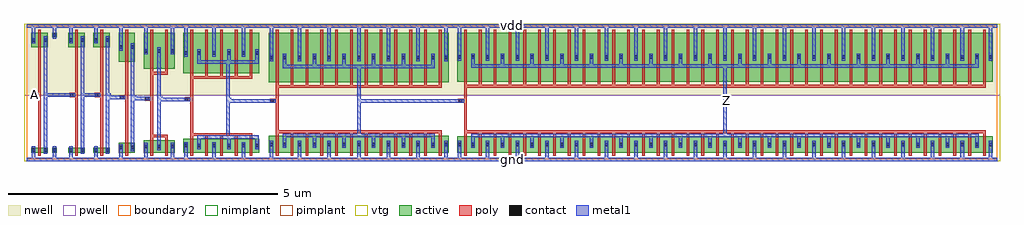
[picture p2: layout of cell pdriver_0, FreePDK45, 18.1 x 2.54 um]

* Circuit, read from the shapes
.subckt pdriver_0 A Z gnd vdd
M1 pinv_9_1/A A gnd gnd nfet w=0.09u l=0.05u
M2 pinv_9_2/A pinv_9_1/A gnd gnd nfet w=0.09u l=0.05u
M3 pinv_10_3/A pinv_9_2/A gnd gnd nfet w=0.09u l=0.05u
M4 pinv_11_4/A pinv_10_3/A gnd gnd nfet w=0.18u l=0.05u
M5 pinv_12_5/A pinv_11_4/A gnd gnd nfet w=0.225u l=0.05u m=2
M6 pinv_13_6/A pinv_12_5/A gnd gnd nfet w=0.2525u l=0.05u m=5
M7 pinv_14_7/A pinv_13_6/A gnd gnd nfet w=0.3075u l=0.05u m=12
M8 Z pinv_14_7/A gnd gnd nfet w=0.305u l=0.05u m=36
M9 pinv_9_1/A A vdd vdd pfet w=0.27u l=0.05u
M10 pinv_9_2/A pinv_9_1/A vdd vdd pfet w=0.27u l=0.05u
M11 pinv_10_3/A pinv_9_2/A vdd vdd pfet w=0.27u l=0.05u
M12 pinv_11_4/A pinv_10_3/A vdd vdd pfet w=0.54u l=0.05u
M13 pinv_12_5/A pinv_11_4/A vdd vdd pfet w=0.675u l=0.05u m=2
M14 pinv_13_6/A pinv_12_5/A vdd vdd pfet w=0.755u l=0.05u m=5
M15 pinv_14_7/A pinv_13_6/A vdd vdd pfet w=0.9225u l=0.05u m=12
M16 Z pinv_14_7/A vdd vdd pfet w=0.915u l=0.05u m=36
.ends

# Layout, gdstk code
import gdstk
lib = gdstk.Library(unit=1e-6, precision=5e-10)
def R(c, l, rs):  # rectangles x0, y0, x1, y1
    for r in rs: c.add(gdstk.rectangle(r[:2], r[2:], *l))
def A(c, l, x, y, w, h, nx, ny, dx, dy):  # array of equal rectangles
    R(c, l, [(x+i*dx, y+j*dy, x+i*dx+w, y+j*dy+h) for i in range(nx) for j in range(ny)])
active = (1, 0)
pwell = (2, 0)
nwell = (3, 0)
nimplant = (4, 0)
pimplant = (5, 0)
vtg = (6, 0)
poly = (9, 0)
contact = (10, 0)
metal1 = (11, 0)
boundary2 = (239, 0)

contact_10 = lib.new_cell('contact_10')
R(contact_10, active, [(0,0.0225,0.09,0.1125)])
R(contact_10, nwell, [(-0.055,-0.0325,0.145,0.1675)])
R(contact_10, pimplant, [(0,0.0225,0.09,0.1125)])
R(contact_10, contact, [(0.0125,0.035,0.0775,0.1)])
R(contact_10, metal1, [(0.0125,0,0.0775,0.135)])
R(contact_10, boundary2, [(-0.055,-0.0325,0.145,0.1675)])

pmos_m1_w0_270_sm1_dm1_d = lib.new_cell('pmos_m1_w0_270_sm1_dm1_da_p')
R(pmos_m1_w0_270_sm1_dm1_d, active, [(0,0,0.305,0.27)])
R(pmos_m1_w0_270_sm1_dm1_d, nwell, [(-0.08,-0.08,0.385,0.35)])
R(pmos_m1_w0_270_sm1_dm1_d, pimplant, [(0,0,0.305,0.27)])
R(pmos_m1_w0_270_sm1_dm1_d, vtg, [(-0.08,-0.08,0.385,0.35)])
R(pmos_m1_w0_270_sm1_dm1_d, poly, [(0.1275,-0.055,0.1775,0.325), (0.1275,-0.055,0.1775,0.325)])
R(pmos_m1_w0_270_sm1_dm1_d, metal1, [(0.0125,0.0675,0.0775,0.2025), (0.2275,0.0675,0.2925,0.2025)])
R(pmos_m1_w0_270_sm1_dm1_d, boundary2, [(-0.08,-0.08,0.385,0.35)])
pmos_m1_w0_270_sm1_dm1_d.add(gdstk.Reference(contact_10, (0,0.0675)))
pmos_m1_w0_270_sm1_dm1_d.add(gdstk.Reference(contact_10, (0.215,0.0675)))
pmos_m1_w0_270_sm1_dm1_d.add(gdstk.Label('G', (0.1525,0.135), layer=9, texttype=0))
pmos_m1_w0_270_sm1_dm1_d.add(gdstk.Label('S', (0.045,0.135), layer=11, texttype=0))
pmos_m1_w0_270_sm1_dm1_d.add(gdstk.Label('D', (0.26,0.135), layer=11, texttype=0))

contact_9 = lib.new_cell('contact_9')
R(contact_9, active, [(0,0.0225,0.09,0.1125)])
R(contact_9, pwell, [(-0.055,-0.0325,0.145,0.1675)])
R(contact_9, nimplant, [(0,0.0225,0.09,0.1125)])
R(contact_9, contact, [(0.0125,0.035,0.0775,0.1)])
R(contact_9, metal1, [(0.0125,0,0.0775,0.135)])
R(contact_9, boundary2, [(-0.055,-0.0325,0.145,0.1675)])

nmos_m1_w0_090_sm1_dm1_d = lib.new_cell('nmos_m1_w0_090_sm1_dm1_da_p')
R(nmos_m1_w0_090_sm1_dm1_d, active, [(0,0,0.305,0.09)])
R(nmos_m1_w0_090_sm1_dm1_d, pwell, [(-0.08,-0.08,0.385,0.17)])
R(nmos_m1_w0_090_sm1_dm1_d, nimplant, [(0,0,0.305,0.09)])
R(nmos_m1_w0_090_sm1_dm1_d, vtg, [(-0.08,-0.08,0.385,0.17)])
R(nmos_m1_w0_090_sm1_dm1_d, poly, [(0.1275,-0.055,0.1775,0.145), (0.1275,-0.055,0.1775,0.145)])
R(nmos_m1_w0_090_sm1_dm1_d, metal1, [(0.0125,-0.0225,0.0775,0.1125), (0.2275,-0.0225,0.2925,0.1125)])
R(nmos_m1_w0_090_sm1_dm1_d, boundary2, [(-0.08,-0.08,0.385,0.17)])
nmos_m1_w0_090_sm1_dm1_d.add(gdstk.Reference(contact_9, (0,-0.0225)))
nmos_m1_w0_090_sm1_dm1_d.add(gdstk.Reference(contact_9, (0.215,-0.0225)))
nmos_m1_w0_090_sm1_dm1_d.add(gdstk.Label('G', (0.1525,0.045), layer=9, texttype=0))
nmos_m1_w0_090_sm1_dm1_d.add(gdstk.Label('S', (0.045,0.045), layer=11, texttype=0))
nmos_m1_w0_090_sm1_dm1_d.add(gdstk.Label('D', (0.26,0.045), layer=11, texttype=0))

contact_11 = lib.new_cell('contact_11')
R(contact_11, active, [(0,0.0225,0.09,0.1125)])
R(contact_11, nwell, [(-0.055,-0.0325,0.145,0.1675)])
R(contact_11, nimplant, [(0,0.0225,0.09,0.1125)])
R(contact_11, contact, [(0.0125,0.035,0.0775,0.1)])
R(contact_11, metal1, [(0.0125,0,0.0775,0.135)])
R(contact_11, boundary2, [(-0.055,-0.0325,0.145,0.1675)])

contact_12 = lib.new_cell('contact_12')
R(contact_12, active, [(0,0.0225,0.09,0.1125)])
R(contact_12, pwell, [(-0.055,-0.0325,0.145,0.1675)])
R(contact_12, pimplant, [(0,0.0225,0.09,0.1125)])
R(contact_12, contact, [(0.0125,0.035,0.0775,0.1)])
R(contact_12, metal1, [(0.0125,0,0.0775,0.135)])
R(contact_12, boundary2, [(-0.055,-0.0325,0.145,0.1675)])

contact_13 = lib.new_cell('contact_13')
R(contact_13, poly, [(0.03,0,0.105,0.075)])
R(contact_13, contact, [(0.035,0.005,0.1,0.07)])
R(contact_13, metal1, [(0,0.005,0.135,0.07)])
R(contact_13, boundary2, [(0,0,0.135,0.075)])

pinv_8 = lib.new_cell('pinv_8')
R(pinv_8, pwell, [(-0.055,-0.0325,0.7425,1.1875)])
R(pinv_8, nwell, [(-0.055,1.1875,0.7425,2.51)])
R(pinv_8, vtg, [(-0.055,-0.0325,0.7425,1.1875), (-0.055,1.1875,0.7425,2.51)])
R(pinv_8, poly, [(0.2075,0.27,0.2575,2.025), (0.14,1.155,0.2075,1.23)])
R(pinv_8, metal1, [(0,-0.0325,0.6875,0.0325), (0.0925,-0.0325,0.1575,0.1025), (0.4775,0,0.5425,0.17), (0.3075,0.1025,0.3725,2.2825), (0.0725,1.16,0.2075,1.225), (0.34,1.16,0.405,1.225), (0.0925,2.1475,0.1575,2.5075), (0.4775,2.305,0.5425,2.475), (0,2.4425,0.6875,2.5075)])
R(pinv_8, boundary2, [(0,0,0.6875,2.475), (0,0,0.6875,2.475)])
pinv_8.add(gdstk.Reference(pmos_m1_w0_270_sm1_dm1_d, (0.08,2.08)))
pinv_8.add(gdstk.Reference(nmos_m1_w0_090_sm1_dm1_d, (0.08,0.125)))
pinv_8.add(gdstk.Reference(contact_11, (0.465,2.2375)))
pinv_8.add(gdstk.Reference(contact_12, (0.465,0.1025)))
pinv_8.add(gdstk.Reference(contact_13, (0.0725,1.155)))
pinv_8.add(gdstk.Label('A', (0.14,1.1925), layer=11, texttype=0))
pinv_8.add(gdstk.Label('Z', (0.3725,1.1925), layer=11, texttype=0))
pinv_8.add(gdstk.Label('gnd', (0.344,0), layer=11, texttype=0))
pinv_8.add(gdstk.Label('vdd', (0.344,2.475), layer=11, texttype=0))

pinv_9 = lib.new_cell('pinv_9')
R(pinv_9, pwell, [(-0.055,-0.0325,0.52,1.1875)])
R(pinv_9, nwell, [(-0.055,1.1875,0.52,2.51)])
R(pinv_9, vtg, [(-0.055,-0.0325,0.52,1.1875), (-0.055,1.1875,0.52,2.51)])
R(pinv_9, poly, [(0.2075,0.27,0.2575,2.025), (0.14,1.155,0.2075,1.23)])
R(pinv_9, metal1, [(0,-0.0325,0.465,0.0325), (0.0925,-0.0325,0.1575,0.1025), (0.3075,0.1025,0.3725,2.2825), (0.0725,1.16,0.2075,1.225), (0.34,1.16,0.405,1.225), (0.0925,2.1475,0.1575,2.5075), (0,2.4425,0.465,2.5075)])
R(pinv_9, boundary2, [(0,0,0.465,2.475), (0,0,0.465,2.475)])
pinv_9.add(gdstk.Reference(pmos_m1_w0_270_sm1_dm1_d, (0.08,2.08)))
pinv_9.add(gdstk.Reference(nmos_m1_w0_090_sm1_dm1_d, (0.08,0.125)))
pinv_9.add(gdstk.Reference(contact_13, (0.0725,1.155)))
pinv_9.add(gdstk.Label('A', (0.14,1.1925), layer=11, texttype=0))
pinv_9.add(gdstk.Label('Z', (0.3725,1.1925), layer=11, texttype=0))
pinv_9.add(gdstk.Label('gnd', (0.2325,0), layer=11, texttype=0))
pinv_9.add(gdstk.Label('vdd', (0.2325,2.475), layer=11, texttype=0))

pmos_m1_w0_540_sm1_dm1_d = lib.new_cell('pmos_m1_w0_540_sm1_dm1_da_p')
R(pmos_m1_w0_540_sm1_dm1_d, active, [(0,0,0.305,0.54)])
R(pmos_m1_w0_540_sm1_dm1_d, nwell, [(-0.08,-0.08,0.385,0.62)])
R(pmos_m1_w0_540_sm1_dm1_d, pimplant, [(0,0,0.305,0.54)])
R(pmos_m1_w0_540_sm1_dm1_d, vtg, [(-0.08,-0.08,0.385,0.62)])
R(pmos_m1_w0_540_sm1_dm1_d, poly, [(0.1275,-0.055,0.1775,0.595), (0.1275,-0.055,0.1775,0.595)])
R(pmos_m1_w0_540_sm1_dm1_d, metal1, [(0.0125,0.2025,0.0775,0.3375), (0.2275,0.2025,0.2925,0.3375)])
R(pmos_m1_w0_540_sm1_dm1_d, boundary2, [(-0.08,-0.08,0.385,0.62)])
pmos_m1_w0_540_sm1_dm1_d.add(gdstk.Reference(contact_10, (0,0.2025)))
pmos_m1_w0_540_sm1_dm1_d.add(gdstk.Reference(contact_10, (0.215,0.2025)))
pmos_m1_w0_540_sm1_dm1_d.add(gdstk.Label('G', (0.1525,0.27), layer=9, texttype=0))
pmos_m1_w0_540_sm1_dm1_d.add(gdstk.Label('S', (0.045,0.27), layer=11, texttype=0))
pmos_m1_w0_540_sm1_dm1_d.add(gdstk.Label('D', (0.26,0.27), layer=11, texttype=0))

nmos_m1_w0_180_sm1_dm1_d = lib.new_cell('nmos_m1_w0_180_sm1_dm1_da_p')
R(nmos_m1_w0_180_sm1_dm1_d, active, [(0,0,0.305,0.18)])
R(nmos_m1_w0_180_sm1_dm1_d, pwell, [(-0.08,-0.08,0.385,0.26)])
R(nmos_m1_w0_180_sm1_dm1_d, nimplant, [(0,0,0.305,0.18)])
R(nmos_m1_w0_180_sm1_dm1_d, vtg, [(-0.08,-0.08,0.385,0.26)])
R(nmos_m1_w0_180_sm1_dm1_d, poly, [(0.1275,-0.055,0.1775,0.235), (0.1275,-0.055,0.1775,0.235)])
R(nmos_m1_w0_180_sm1_dm1_d, metal1, [(0.0125,0.0225,0.0775,0.1575), (0.2275,0.0225,0.2925,0.1575)])
R(nmos_m1_w0_180_sm1_dm1_d, boundary2, [(-0.08,-0.08,0.385,0.26)])
nmos_m1_w0_180_sm1_dm1_d.add(gdstk.Reference(contact_9, (0,0.0225)))
nmos_m1_w0_180_sm1_dm1_d.add(gdstk.Reference(contact_9, (0.215,0.0225)))
nmos_m1_w0_180_sm1_dm1_d.add(gdstk.Label('G', (0.1525,0.09), layer=9, texttype=0))
nmos_m1_w0_180_sm1_dm1_d.add(gdstk.Label('S', (0.045,0.09), layer=11, texttype=0))
nmos_m1_w0_180_sm1_dm1_d.add(gdstk.Label('D', (0.26,0.09), layer=11, texttype=0))

pinv_10 = lib.new_cell('pinv_10')
R(pinv_10, pwell, [(-0.055,-0.0325,0.52,1.1875)])
R(pinv_10, nwell, [(-0.055,1.1875,0.52,2.51)])
R(pinv_10, vtg, [(-0.055,-0.0325,0.52,1.1875), (-0.055,1.1875,0.52,2.51)])
R(pinv_10, poly, [(0.2075,0.36,0.2575,1.755), (0.14,1.11,0.2075,1.185)])
R(pinv_10, metal1, [(0,-0.0325,0.465,0.0325), (0.0925,-0.0325,0.1575,0.1475), (0.3075,0.1475,0.3725,2.1475), (0.0725,1.115,0.2075,1.18), (0.34,1.115,0.405,1.18), (0.0925,2.0125,0.1575,2.5075), (0,2.4425,0.465,2.5075)])
R(pinv_10, boundary2, [(0,0,0.465,2.475), (0,0,0.465,2.475)])
pinv_10.add(gdstk.Reference(pmos_m1_w0_540_sm1_dm1_d, (0.08,1.81)))
pinv_10.add(gdstk.Reference(nmos_m1_w0_180_sm1_dm1_d, (0.08,0.125)))
pinv_10.add(gdstk.Reference(contact_13, (0.0725,1.11)))
pinv_10.add(gdstk.Label('A', (0.14,1.1475), layer=11, texttype=0))
pinv_10.add(gdstk.Label('Z', (0.3725,1.1475), layer=11, texttype=0))
pinv_10.add(gdstk.Label('gnd', (0.2325,0), layer=11, texttype=0))
pinv_10.add(gdstk.Label('vdd', (0.2325,2.475), layer=11, texttype=0))

pmos_m2_w0_675_sm1_dm1_d = lib.new_cell('pmos_m2_w0_675_sm1_dm1_da_p')
R(pmos_m2_w0_675_sm1_dm1_d, active, [(0,0,0.58,0.675)])
R(pmos_m2_w0_675_sm1_dm1_d, nwell, [(-0.08,-0.08,0.66,0.755)])
R(pmos_m2_w0_675_sm1_dm1_d, pimplant, [(0,0,0.58,0.675)])
R(pmos_m2_w0_675_sm1_dm1_d, vtg, [(-0.08,-0.08,0.66,0.755)])
R(pmos_m2_w0_675_sm1_dm1_d, poly, [(0.1275,-0.105,0.4525,-0.055), (0.1275,-0.055,0.1775,0.73), (0.4025,-0.055,0.4525,0.73)])
A(pmos_m2_w0_675_sm1_dm1_d, metal1, 0.0125, 0.27, 0.065, 0.135, 3, 1, 0.245, 0)
R(pmos_m2_w0_675_sm1_dm1_d, boundary2, [(-0.08,-0.08,0.66,0.755)])
pmos_m2_w0_675_sm1_dm1_d.add(gdstk.Reference(contact_10, (0,0.27)))
pmos_m2_w0_675_sm1_dm1_d.add(gdstk.Reference(contact_10, (0.245,0.27)))
pmos_m2_w0_675_sm1_dm1_d.add(gdstk.Reference(contact_10, (0.49,0.27)))
pmos_m2_w0_675_sm1_dm1_d.add(gdstk.Label('G', (0.29,-0.08), layer=9, texttype=0))
pmos_m2_w0_675_sm1_dm1_d.add(gdstk.Label('S', (0.045,0.3375), layer=11, texttype=0))
pmos_m2_w0_675_sm1_dm1_d.add(gdstk.Label('S', (0.535,0.3375), layer=11, texttype=0))
pmos_m2_w0_675_sm1_dm1_d.add(gdstk.Label('D', (0.29,0.3375), layer=11, texttype=0))

nmos_m2_w0_225_sm1_dm1_d = lib.new_cell('nmos_m2_w0_225_sm1_dm1_da_p')
R(nmos_m2_w0_225_sm1_dm1_d, active, [(0,0,0.58,0.225)])
R(nmos_m2_w0_225_sm1_dm1_d, pwell, [(-0.08,-0.08,0.66,0.305)])
R(nmos_m2_w0_225_sm1_dm1_d, nimplant, [(0,0,0.58,0.225)])
R(nmos_m2_w0_225_sm1_dm1_d, vtg, [(-0.08,-0.08,0.66,0.305)])
R(nmos_m2_w0_225_sm1_dm1_d, poly, [(0.1275,-0.055,0.1775,0.28), (0.4025,-0.055,0.4525,0.28), (0.1275,0.28,0.4525,0.33)])
A(nmos_m2_w0_225_sm1_dm1_d, metal1, 0.0125, 0.045, 0.065, 0.135, 3, 1, 0.245, 0)
R(nmos_m2_w0_225_sm1_dm1_d, boundary2, [(-0.08,-0.08,0.66,0.305)])
nmos_m2_w0_225_sm1_dm1_d.add(gdstk.Reference(contact_9, (0,0.045)))
nmos_m2_w0_225_sm1_dm1_d.add(gdstk.Reference(contact_9, (0.245,0.045)))
nmos_m2_w0_225_sm1_dm1_d.add(gdstk.Reference(contact_9, (0.49,0.045)))
nmos_m2_w0_225_sm1_dm1_d.add(gdstk.Label('G', (0.29,0.305), layer=9, texttype=0))
nmos_m2_w0_225_sm1_dm1_d.add(gdstk.Label('S', (0.535,0.1125), layer=11, texttype=0))
nmos_m2_w0_225_sm1_dm1_d.add(gdstk.Label('S', (0.045,0.1125), layer=11, texttype=0))
nmos_m2_w0_225_sm1_dm1_d.add(gdstk.Label('D', (0.29,0.1125), layer=11, texttype=0))

pinv_11 = lib.new_cell('pinv_11')
R(pinv_11, pwell, [(-0.055,-0.0325,0.795,1.1875)])
R(pinv_11, nwell, [(-0.055,1.1875,0.795,2.51)])
R(pinv_11, vtg, [(-0.055,-0.0325,0.795,1.1875), (-0.055,1.1875,0.795,2.51)])
R(pinv_11, poly, [(0.2075,0.455,0.2575,1.57), (0.14,1.0875,0.2075,1.1625)])
R(pinv_11, metal1, [(0,-0.0325,0.74,0.0325), (0.0925,-0.0325,0.1575,0.17), (0.5825,-0.0325,0.6475,0.17), (0.3375,0.17,0.4025,2.08), (0.0725,1.0925,0.2075,1.1575), (0.37,1.0925,0.435,1.1575), (0.0925,1.945,0.1575,2.5075), (0.5825,1.945,0.6475,2.5075), (0,2.4425,0.74,2.5075)])
R(pinv_11, boundary2, [(0,0,0.74,2.475), (0,0,0.74,2.475)])
pinv_11.add(gdstk.Reference(pmos_m2_w0_675_sm1_dm1_d, (0.08,1.675)))
pinv_11.add(gdstk.Reference(nmos_m2_w0_225_sm1_dm1_d, (0.08,0.125)))
pinv_11.add(gdstk.Reference(contact_13, (0.0725,1.0875)))
pinv_11.add(gdstk.Label('A', (0.14,1.125), layer=11, texttype=0))
pinv_11.add(gdstk.Label('Z', (0.4025,1.125), layer=11, texttype=0))
pinv_11.add(gdstk.Label('gnd', (0.37,0), layer=11, texttype=0))
pinv_11.add(gdstk.Label('vdd', (0.37,2.475), layer=11, texttype=0))

pmos_m5_w0_755_sm1_dm1_d = lib.new_cell('pmos_m5_w0_755_sm1_dm1_da_p')
R(pmos_m5_w0_755_sm1_dm1_d, active, [(0,0,1.405,0.755)])
R(pmos_m5_w0_755_sm1_dm1_d, nwell, [(-0.08,-0.08,1.485,0.835)])
R(pmos_m5_w0_755_sm1_dm1_d, pimplant, [(0,0,1.405,0.755)])
R(pmos_m5_w0_755_sm1_dm1_d, vtg, [(-0.08,-0.08,1.485,0.835)])
A(pmos_m5_w0_755_sm1_dm1_d, poly, 0.1275, -0.055, 0.05, 0.865, 5, 1, 0.275, 0)
R(pmos_m5_w0_755_sm1_dm1_d, poly, [(0.1275,-0.105,1.2775,-0.055)])
R(pmos_m5_w0_755_sm1_dm1_d, metal1, [(0.2575,0.18,1.3925,0.245), (0.2575,0.2125,0.3225,0.3775), (0.8075,0.2125,0.8725,0.3775), (1.3275,0.2125,1.3925,0.3775), (0.0125,0.31,0.0775,0.445), (0.5325,0.31,0.5975,0.445), (1.0825,0.31,1.1475,0.445)])
R(pmos_m5_w0_755_sm1_dm1_d, boundary2, [(-0.08,-0.08,1.485,0.835)])
pmos_m5_w0_755_sm1_dm1_d.add(gdstk.Reference(contact_10, (0,0.31)))
pmos_m5_w0_755_sm1_dm1_d.add(gdstk.Reference(contact_10, (0.245,0.31)))
pmos_m5_w0_755_sm1_dm1_d.add(gdstk.Reference(contact_10, (0.52,0.31)))
pmos_m5_w0_755_sm1_dm1_d.add(gdstk.Reference(contact_10, (0.795,0.31)))
pmos_m5_w0_755_sm1_dm1_d.add(gdstk.Reference(contact_10, (1.07,0.31)))
pmos_m5_w0_755_sm1_dm1_d.add(gdstk.Reference(contact_10, (1.315,0.31)))
pmos_m5_w0_755_sm1_dm1_d.add(gdstk.Label('G', (0.7025,-0.08), layer=9, texttype=0))
pmos_m5_w0_755_sm1_dm1_d.add(gdstk.Label('S', (1.115,0.3775), layer=11, texttype=0))
pmos_m5_w0_755_sm1_dm1_d.add(gdstk.Label('S', (0.565,0.3775), layer=11, texttype=0))
pmos_m5_w0_755_sm1_dm1_d.add(gdstk.Label('S', (0.045,0.3775), layer=11, texttype=0))
pmos_m5_w0_755_sm1_dm1_d.add(gdstk.Label('D', (0.825,0.2125), layer=11, texttype=0))

nmos_m5_w0_253_sm1_dm1_d = lib.new_cell('nmos_m5_w0_253_sm1_dm1_da_p')
R(nmos_m5_w0_253_sm1_dm1_d, active, [(0,0,1.405,0.2525)])
R(nmos_m5_w0_253_sm1_dm1_d, pwell, [(-0.08,-0.08,1.485,0.3325)])
R(nmos_m5_w0_253_sm1_dm1_d, nimplant, [(0,0,1.405,0.2525)])
R(nmos_m5_w0_253_sm1_dm1_d, vtg, [(-0.08,-0.08,1.485,0.3325)])
A(nmos_m5_w0_253_sm1_dm1_d, poly, 0.1275, -0.055, 0.05, 0.3625, 5, 1, 0.275, 0)
R(nmos_m5_w0_253_sm1_dm1_d, poly, [(0.1275,0.3075,1.2775,0.3575)])
R(nmos_m5_w0_253_sm1_dm1_d, metal1, [(0.0125,0.06,0.0775,0.195), (0.5325,0.06,0.5975,0.195), (1.0825,0.06,1.1475,0.195), (0.2575,0.125,0.3225,0.29), (0.8075,0.125,0.8725,0.29), (1.3275,0.125,1.3925,0.29), (0.2575,0.26,1.3925,0.325)])
R(nmos_m5_w0_253_sm1_dm1_d, boundary2, [(-0.08,-0.08,1.485,0.3325)])
nmos_m5_w0_253_sm1_dm1_d.add(gdstk.Reference(contact_9, (0,0.06)))
nmos_m5_w0_253_sm1_dm1_d.add(gdstk.Reference(contact_9, (0.245,0.06)))
nmos_m5_w0_253_sm1_dm1_d.add(gdstk.Reference(contact_9, (0.52,0.06)))
nmos_m5_w0_253_sm1_dm1_d.add(gdstk.Reference(contact_9, (0.795,0.06)))
nmos_m5_w0_253_sm1_dm1_d.add(gdstk.Reference(contact_9, (1.07,0.06)))
nmos_m5_w0_253_sm1_dm1_d.add(gdstk.Reference(contact_9, (1.315,0.06)))
nmos_m5_w0_253_sm1_dm1_d.add(gdstk.Label('G', (0.7025,0.3325), layer=9, texttype=0))
nmos_m5_w0_253_sm1_dm1_d.add(gdstk.Label('S', (0.045,0.1275), layer=11, texttype=0))
nmos_m5_w0_253_sm1_dm1_d.add(gdstk.Label('S', (0.565,0.1275), layer=11, texttype=0))
nmos_m5_w0_253_sm1_dm1_d.add(gdstk.Label('S', (1.115,0.1275), layer=11, texttype=0))
nmos_m5_w0_253_sm1_dm1_d.add(gdstk.Label('D', (0.825,0.2925), layer=11, texttype=0))

pinv_12 = lib.new_cell('pinv_12')
R(pinv_12, pwell, [(-0.055,-0.0325,1.64,1.1875)])
R(pinv_12, nwell, [(-0.055,1.1875,1.64,2.51)])
R(pinv_12, vtg, [(-0.055,-0.0325,1.64,1.1875), (-0.055,1.1875,1.64,2.51)])
R(pinv_12, poly, [(0.2075,0.4825,0.2575,1.49), (0.14,1.075,0.2075,1.15)])
R(pinv_12, metal1, [(0,-0.0325,1.585,0.0325), (0.0925,-0.0325,0.1575,0.185), (0.6125,-0.0325,0.6775,0.185), (1.1625,-0.0325,1.2275,0.185), (0.8725,0.385,0.9375,1.84), (0.0725,1.08,0.2075,1.145), (0.905,1.08,0.97,1.145), (0.0925,1.905,0.1575,2.5075), (0.6125,1.905,0.6775,2.5075), (1.1625,1.905,1.2275,2.5075), (0,2.4425,1.585,2.5075)])
R(pinv_12, boundary2, [(0,0,1.585,2.475), (0,0,1.585,2.475)])
pinv_12.add(gdstk.Reference(pmos_m5_w0_755_sm1_dm1_d, (0.08,1.595)))
pinv_12.add(gdstk.Reference(nmos_m5_w0_253_sm1_dm1_d, (0.08,0.125)))
pinv_12.add(gdstk.Reference(contact_13, (0.0725,1.075)))
pinv_12.add(gdstk.Label('A', (0.14,1.1125), layer=11, texttype=0))
pinv_12.add(gdstk.Label('Z', (0.9375,1.1125), layer=11, texttype=0))
pinv_12.add(gdstk.Label('gnd', (0.7925,0), layer=11, texttype=0))
pinv_12.add(gdstk.Label('vdd', (0.7925,2.475), layer=11, texttype=0))

pmos_m12_w0_922_sm1_dm1_ = lib.new_cell('pmos_m12_w0_922_sm1_dm1_da_p')
R(pmos_m12_w0_922_sm1_dm1_, active, [(0,0,3.33,0.9225)])
R(pmos_m12_w0_922_sm1_dm1_, nwell, [(-0.08,-0.08,3.41,1.0025)])
R(pmos_m12_w0_922_sm1_dm1_, pimplant, [(0,0,3.33,0.9225)])
R(pmos_m12_w0_922_sm1_dm1_, vtg, [(-0.08,-0.08,3.41,1.0025)])
A(pmos_m12_w0_922_sm1_dm1_, poly, 0.1275, -0.055, 0.05, 1.0325, 12, 1, 0.275, 0)
R(pmos_m12_w0_922_sm1_dm1_, poly, [(0.1275,-0.105,3.2025,-0.055)])
A(pmos_m12_w0_922_sm1_dm1_, metal1, 0.2575, 0.295, 0.065, 0.165, 6, 1, 0.55, 0)
A(pmos_m12_w0_922_sm1_dm1_, metal1, 0.5325, 0.395, 0.065, 0.135, 5, 1, 0.55, 0)
R(pmos_m12_w0_922_sm1_dm1_, metal1, [(0.2575,0.265,3.0725,0.33), (0.0125,0.395,0.0775,0.53), (3.2525,0.395,3.3175,0.53)])
R(pmos_m12_w0_922_sm1_dm1_, boundary2, [(-0.08,-0.08,3.41,1.0025)])
pmos_m12_w0_922_sm1_dm1_.add(gdstk.Reference(contact_10, (0,0.395)))
pmos_m12_w0_922_sm1_dm1_.add(gdstk.Reference(contact_10, (0.245,0.395)))
pmos_m12_w0_922_sm1_dm1_.add(gdstk.Reference(contact_10, (0.52,0.395)))
pmos_m12_w0_922_sm1_dm1_.add(gdstk.Reference(contact_10, (0.795,0.395)))
pmos_m12_w0_922_sm1_dm1_.add(gdstk.Reference(contact_10, (1.07,0.395)))
pmos_m12_w0_922_sm1_dm1_.add(gdstk.Reference(contact_10, (1.345,0.395)))
pmos_m12_w0_922_sm1_dm1_.add(gdstk.Reference(contact_10, (1.62,0.395)))
pmos_m12_w0_922_sm1_dm1_.add(gdstk.Reference(contact_10, (1.895,0.395)))
pmos_m12_w0_922_sm1_dm1_.add(gdstk.Reference(contact_10, (2.17,0.395)))
pmos_m12_w0_922_sm1_dm1_.add(gdstk.Reference(contact_10, (2.445,0.395)))
pmos_m12_w0_922_sm1_dm1_.add(gdstk.Reference(contact_10, (2.72,0.395)))
pmos_m12_w0_922_sm1_dm1_.add(gdstk.Reference(contact_10, (2.995,0.395)))
pmos_m12_w0_922_sm1_dm1_.add(gdstk.Reference(contact_10, (3.24,0.395)))
pmos_m12_w0_922_sm1_dm1_.add(gdstk.Label('G', (1.665,-0.08), layer=9, texttype=0))
pmos_m12_w0_922_sm1_dm1_.add(gdstk.Label('S', (0.565,0.4625), layer=11, texttype=0))
pmos_m12_w0_922_sm1_dm1_.add(gdstk.Label('S', (1.665,0.4625), layer=11, texttype=0))
pmos_m12_w0_922_sm1_dm1_.add(gdstk.Label('S', (1.115,0.4625), layer=11, texttype=0))
pmos_m12_w0_922_sm1_dm1_.add(gdstk.Label('S', (0.045,0.4625), layer=11, texttype=0))
pmos_m12_w0_922_sm1_dm1_.add(gdstk.Label('S', (2.215,0.4625), layer=11, texttype=0))
pmos_m12_w0_922_sm1_dm1_.add(gdstk.Label('S', (3.285,0.4625), layer=11, texttype=0))
pmos_m12_w0_922_sm1_dm1_.add(gdstk.Label('S', (2.765,0.4625), layer=11, texttype=0))
pmos_m12_w0_922_sm1_dm1_.add(gdstk.Label('D', (1.665,0.2975), layer=11, texttype=0))

nmos_m12_w0_307_sm1_dm1_ = lib.new_cell('nmos_m12_w0_307_sm1_dm1_da_p')
R(nmos_m12_w0_307_sm1_dm1_, active, [(0,0,3.33,0.3075)])
R(nmos_m12_w0_307_sm1_dm1_, pwell, [(-0.08,-0.08,3.41,0.3875)])
R(nmos_m12_w0_307_sm1_dm1_, nimplant, [(0,0,3.33,0.3075)])
R(nmos_m12_w0_307_sm1_dm1_, vtg, [(-0.08,-0.08,3.41,0.3875)])
A(nmos_m12_w0_307_sm1_dm1_, poly, 0.1275, -0.055, 0.05, 0.4175, 12, 1, 0.275, 0)
R(nmos_m12_w0_307_sm1_dm1_, poly, [(0.1275,0.3625,3.2025,0.4125)])
A(nmos_m12_w0_307_sm1_dm1_, metal1, 0.5325, 0.085, 0.065, 0.135, 5, 1, 0.55, 0)
A(nmos_m12_w0_307_sm1_dm1_, metal1, 0.2575, 0.155, 0.065, 0.165, 6, 1, 0.55, 0)
R(nmos_m12_w0_307_sm1_dm1_, metal1, [(0.0125,0.085,0.0775,0.22), (3.2525,0.085,3.3175,0.22), (0.2575,0.285,3.0725,0.35)])
R(nmos_m12_w0_307_sm1_dm1_, boundary2, [(-0.08,-0.08,3.41,0.3875)])
nmos_m12_w0_307_sm1_dm1_.add(gdstk.Reference(contact_9, (0,0.085)))
nmos_m12_w0_307_sm1_dm1_.add(gdstk.Reference(contact_9, (0.245,0.085)))
nmos_m12_w0_307_sm1_dm1_.add(gdstk.Reference(contact_9, (0.52,0.085)))
nmos_m12_w0_307_sm1_dm1_.add(gdstk.Reference(contact_9, (0.795,0.085)))
nmos_m12_w0_307_sm1_dm1_.add(gdstk.Reference(contact_9, (1.07,0.085)))
nmos_m12_w0_307_sm1_dm1_.add(gdstk.Reference(contact_9, (1.345,0.085)))
nmos_m12_w0_307_sm1_dm1_.add(gdstk.Reference(contact_9, (1.62,0.085)))
nmos_m12_w0_307_sm1_dm1_.add(gdstk.Reference(contact_9, (1.895,0.085)))
nmos_m12_w0_307_sm1_dm1_.add(gdstk.Reference(contact_9, (2.17,0.085)))
nmos_m12_w0_307_sm1_dm1_.add(gdstk.Reference(contact_9, (2.445,0.085)))
nmos_m12_w0_307_sm1_dm1_.add(gdstk.Reference(contact_9, (2.72,0.085)))
nmos_m12_w0_307_sm1_dm1_.add(gdstk.Reference(contact_9, (2.995,0.085)))
nmos_m12_w0_307_sm1_dm1_.add(gdstk.Reference(contact_9, (3.24,0.085)))
nmos_m12_w0_307_sm1_dm1_.add(gdstk.Label('G', (1.665,0.3875), layer=9, texttype=0))
nmos_m12_w0_307_sm1_dm1_.add(gdstk.Label('S', (0.565,0.1525), layer=11, texttype=0))
nmos_m12_w0_307_sm1_dm1_.add(gdstk.Label('S', (0.045,0.1525), layer=11, texttype=0))
nmos_m12_w0_307_sm1_dm1_.add(gdstk.Label('S', (3.285,0.1525), layer=11, texttype=0))
nmos_m12_w0_307_sm1_dm1_.add(gdstk.Label('S', (2.215,0.1525), layer=11, texttype=0))
nmos_m12_w0_307_sm1_dm1_.add(gdstk.Label('S', (1.665,0.1525), layer=11, texttype=0))
nmos_m12_w0_307_sm1_dm1_.add(gdstk.Label('S', (2.765,0.1525), layer=11, texttype=0))
nmos_m12_w0_307_sm1_dm1_.add(gdstk.Label('S', (1.115,0.1525), layer=11, texttype=0))
nmos_m12_w0_307_sm1_dm1_.add(gdstk.Label('D', (1.665,0.3175), layer=11, texttype=0))

pinv_13 = lib.new_cell('pinv_13')
R(pinv_13, pwell, [(-0.055,-0.0325,3.545,1.1875)])
R(pinv_13, nwell, [(-0.055,1.1875,3.545,2.51)])
R(pinv_13, vtg, [(-0.055,-0.0325,3.545,1.1875), (-0.055,1.1875,3.545,2.51)])
R(pinv_13, poly, [(0.2075,0.5375,0.2575,1.3225), (0.14,1.045,0.2075,1.12)])
A(pinv_13, metal1, 0.6125, -0.0325, 0.065, 0.2425, 5, 1, 0.55, 0)
A(pinv_13, metal1, 0.6125, 1.8225, 0.065, 0.685, 5, 1, 0.55, 0)
R(pinv_13, metal1, [(0,-0.0325,3.49,0.0325), (0.0925,-0.0325,0.1575,0.21), (3.3325,-0.0325,3.3975,0.21), (1.7125,0.41,1.7775,1.7575), (0.0725,1.05,0.2075,1.115), (1.745,1.05,1.81,1.115), (0.0925,1.8225,0.1575,2.5075), (3.3325,1.8225,3.3975,2.5075), (0,2.4425,3.49,2.5075)])
R(pinv_13, boundary2, [(0,0,3.49,2.475), (0,0,3.49,2.475)])
pinv_13.add(gdstk.Reference(pmos_m12_w0_922_sm1_dm1_, (0.08,1.4275)))
pinv_13.add(gdstk.Reference(nmos_m12_w0_307_sm1_dm1_, (0.08,0.125)))
pinv_13.add(gdstk.Reference(contact_13, (0.0725,1.045)))
pinv_13.add(gdstk.Label('A', (0.14,1.0825), layer=11, texttype=0))
pinv_13.add(gdstk.Label('Z', (1.7775,1.0825), layer=11, texttype=0))
pinv_13.add(gdstk.Label('gnd', (1.745,0), layer=11, texttype=0))
pinv_13.add(gdstk.Label('vdd', (1.745,2.475), layer=11, texttype=0))

pmos_m36_w0_915_sm1_dm1_ = lib.new_cell('pmos_m36_w0_915_sm1_dm1_da_p')
R(pmos_m36_w0_915_sm1_dm1_, active, [(0,0,9.93,0.915)])
R(pmos_m36_w0_915_sm1_dm1_, nwell, [(-0.08,-0.08,10.01,0.995)])
R(pmos_m36_w0_915_sm1_dm1_, pimplant, [(0,0,9.93,0.915)])
R(pmos_m36_w0_915_sm1_dm1_, vtg, [(-0.08,-0.08,10.01,0.995)])
A(pmos_m36_w0_915_sm1_dm1_, poly, 0.1275, -0.055, 0.05, 1.025, 36, 1, 0.275, 0)
R(pmos_m36_w0_915_sm1_dm1_, poly, [(0.1275,-0.105,9.8025,-0.055)])
A(pmos_m36_w0_915_sm1_dm1_, metal1, 0.2575, 0.2925, 0.065, 0.165, 18, 1, 0.55, 0)
A(pmos_m36_w0_915_sm1_dm1_, metal1, 0.5325, 0.39, 0.065, 0.135, 17, 1, 0.55, 0)
R(pmos_m36_w0_915_sm1_dm1_, metal1, [(0.2575,0.26,9.6725,0.325), (0.0125,0.39,0.0775,0.525), (9.8525,0.39,9.9175,0.525)])
R(pmos_m36_w0_915_sm1_dm1_, boundary2, [(-0.08,-0.08,10.01,0.995)])
pmos_m36_w0_915_sm1_dm1_.add(gdstk.Reference(contact_10, (0,0.39)))
pmos_m36_w0_915_sm1_dm1_.add(gdstk.Reference(contact_10, (0.245,0.39)))
pmos_m36_w0_915_sm1_dm1_.add(gdstk.Reference(contact_10, (0.52,0.39)))
pmos_m36_w0_915_sm1_dm1_.add(gdstk.Reference(contact_10, (0.795,0.39)))
pmos_m36_w0_915_sm1_dm1_.add(gdstk.Reference(contact_10, (1.07,0.39)))
pmos_m36_w0_915_sm1_dm1_.add(gdstk.Reference(contact_10, (1.345,0.39)))
pmos_m36_w0_915_sm1_dm1_.add(gdstk.Reference(contact_10, (1.62,0.39)))
pmos_m36_w0_915_sm1_dm1_.add(gdstk.Reference(contact_10, (1.895,0.39)))
pmos_m36_w0_915_sm1_dm1_.add(gdstk.Reference(contact_10, (2.17,0.39)))
pmos_m36_w0_915_sm1_dm1_.add(gdstk.Reference(contact_10, (2.445,0.39)))
pmos_m36_w0_915_sm1_dm1_.add(gdstk.Reference(contact_10, (2.72,0.39)))
pmos_m36_w0_915_sm1_dm1_.add(gdstk.Reference(contact_10, (2.995,0.39)))
pmos_m36_w0_915_sm1_dm1_.add(gdstk.Reference(contact_10, (3.27,0.39)))
pmos_m36_w0_915_sm1_dm1_.add(gdstk.Reference(contact_10, (3.545,0.39)))
pmos_m36_w0_915_sm1_dm1_.add(gdstk.Reference(contact_10, (3.82,0.39)))
pmos_m36_w0_915_sm1_dm1_.add(gdstk.Reference(contact_10, (4.095,0.39)))
pmos_m36_w0_915_sm1_dm1_.add(gdstk.Reference(contact_10, (4.37,0.39)))
pmos_m36_w0_915_sm1_dm1_.add(gdstk.Reference(contact_10, (4.645,0.39)))
pmos_m36_w0_915_sm1_dm1_.add(gdstk.Reference(contact_10, (4.92,0.39)))
pmos_m36_w0_915_sm1_dm1_.add(gdstk.Reference(contact_10, (5.195,0.39)))
pmos_m36_w0_915_sm1_dm1_.add(gdstk.Reference(contact_10, (5.47,0.39)))
pmos_m36_w0_915_sm1_dm1_.add(gdstk.Reference(contact_10, (5.745,0.39)))
pmos_m36_w0_915_sm1_dm1_.add(gdstk.Reference(contact_10, (6.02,0.39)))
pmos_m36_w0_915_sm1_dm1_.add(gdstk.Reference(contact_10, (6.295,0.39)))
pmos_m36_w0_915_sm1_dm1_.add(gdstk.Reference(contact_10, (6.57,0.39)))
pmos_m36_w0_915_sm1_dm1_.add(gdstk.Reference(contact_10, (6.845,0.39)))
pmos_m36_w0_915_sm1_dm1_.add(gdstk.Reference(contact_10, (7.12,0.39)))
pmos_m36_w0_915_sm1_dm1_.add(gdstk.Reference(contact_10, (7.395,0.39)))
pmos_m36_w0_915_sm1_dm1_.add(gdstk.Reference(contact_10, (7.67,0.39)))
pmos_m36_w0_915_sm1_dm1_.add(gdstk.Reference(contact_10, (7.945,0.39)))
pmos_m36_w0_915_sm1_dm1_.add(gdstk.Reference(contact_10, (8.22,0.39)))
pmos_m36_w0_915_sm1_dm1_.add(gdstk.Reference(contact_10, (8.495,0.39)))
pmos_m36_w0_915_sm1_dm1_.add(gdstk.Reference(contact_10, (8.77,0.39)))
pmos_m36_w0_915_sm1_dm1_.add(gdstk.Reference(contact_10, (9.045,0.39)))
pmos_m36_w0_915_sm1_dm1_.add(gdstk.Reference(contact_10, (9.32,0.39)))
pmos_m36_w0_915_sm1_dm1_.add(gdstk.Reference(contact_10, (9.595,0.39)))
pmos_m36_w0_915_sm1_dm1_.add(gdstk.Reference(contact_10, (9.84,0.39)))
pmos_m36_w0_915_sm1_dm1_.add(gdstk.Label('G', (4.965,-0.08), layer=9, texttype=0))
pmos_m36_w0_915_sm1_dm1_.add(gdstk.Label('S', (0.565,0.4575), layer=11, texttype=0))
pmos_m36_w0_915_sm1_dm1_.add(gdstk.Label('S', (8.815,0.4575), layer=11, texttype=0))
pmos_m36_w0_915_sm1_dm1_.add(gdstk.Label('S', (9.885,0.4575), layer=11, texttype=0))
pmos_m36_w0_915_sm1_dm1_.add(gdstk.Label('S', (2.765,0.4575), layer=11, texttype=0))
pmos_m36_w0_915_sm1_dm1_.add(gdstk.Label('S', (4.415,0.4575), layer=11, texttype=0))
pmos_m36_w0_915_sm1_dm1_.add(gdstk.Label('S', (1.665,0.4575), layer=11, texttype=0))
pmos_m36_w0_915_sm1_dm1_.add(gdstk.Label('S', (4.965,0.4575), layer=11, texttype=0))
pmos_m36_w0_915_sm1_dm1_.add(gdstk.Label('S', (1.115,0.4575), layer=11, texttype=0))
pmos_m36_w0_915_sm1_dm1_.add(gdstk.Label('S', (8.265,0.4575), layer=11, texttype=0))
pmos_m36_w0_915_sm1_dm1_.add(gdstk.Label('S', (7.165,0.4575), layer=11, texttype=0))
pmos_m36_w0_915_sm1_dm1_.add(gdstk.Label('S', (0.045,0.4575), layer=11, texttype=0))
pmos_m36_w0_915_sm1_dm1_.add(gdstk.Label('S', (9.365,0.4575), layer=11, texttype=0))
pmos_m36_w0_915_sm1_dm1_.add(gdstk.Label('S', (6.065,0.4575), layer=11, texttype=0))
pmos_m36_w0_915_sm1_dm1_.add(gdstk.Label('S', (6.615,0.4575), layer=11, texttype=0))
pmos_m36_w0_915_sm1_dm1_.add(gdstk.Label('S', (5.515,0.4575), layer=11, texttype=0))
pmos_m36_w0_915_sm1_dm1_.add(gdstk.Label('S', (3.315,0.4575), layer=11, texttype=0))
pmos_m36_w0_915_sm1_dm1_.add(gdstk.Label('S', (3.865,0.4575), layer=11, texttype=0))
pmos_m36_w0_915_sm1_dm1_.add(gdstk.Label('S', (2.215,0.4575), layer=11, texttype=0))
pmos_m36_w0_915_sm1_dm1_.add(gdstk.Label('S', (7.715,0.4575), layer=11, texttype=0))
pmos_m36_w0_915_sm1_dm1_.add(gdstk.Label('D', (4.965,0.2925), layer=11, texttype=0))

nmos_m36_w0_305_sm1_dm1_ = lib.new_cell('nmos_m36_w0_305_sm1_dm1_da_p')
R(nmos_m36_w0_305_sm1_dm1_, active, [(0,0,9.93,0.305)])
R(nmos_m36_w0_305_sm1_dm1_, pwell, [(-0.08,-0.08,10.01,0.385)])
R(nmos_m36_w0_305_sm1_dm1_, nimplant, [(0,0,9.93,0.305)])
R(nmos_m36_w0_305_sm1_dm1_, vtg, [(-0.08,-0.08,10.01,0.385)])
A(nmos_m36_w0_305_sm1_dm1_, poly, 0.1275, -0.055, 0.05, 0.415, 36, 1, 0.275, 0)
R(nmos_m36_w0_305_sm1_dm1_, poly, [(0.1275,0.36,9.8025,0.41)])
A(nmos_m36_w0_305_sm1_dm1_, metal1, 0.5325, 0.085, 0.065, 0.135, 17, 1, 0.55, 0)
A(nmos_m36_w0_305_sm1_dm1_, metal1, 0.2575, 0.1525, 0.065, 0.165, 18, 1, 0.55, 0)
R(nmos_m36_w0_305_sm1_dm1_, metal1, [(0.0125,0.085,0.0775,0.22), (9.8525,0.085,9.9175,0.22), (0.2575,0.285,9.6725,0.35)])
R(nmos_m36_w0_305_sm1_dm1_, boundary2, [(-0.08,-0.08,10.01,0.385)])
nmos_m36_w0_305_sm1_dm1_.add(gdstk.Reference(contact_9, (0,0.085)))
nmos_m36_w0_305_sm1_dm1_.add(gdstk.Reference(contact_9, (0.245,0.085)))
nmos_m36_w0_305_sm1_dm1_.add(gdstk.Reference(contact_9, (0.52,0.085)))
nmos_m36_w0_305_sm1_dm1_.add(gdstk.Reference(contact_9, (0.795,0.085)))
nmos_m36_w0_305_sm1_dm1_.add(gdstk.Reference(contact_9, (1.07,0.085)))
nmos_m36_w0_305_sm1_dm1_.add(gdstk.Reference(contact_9, (1.345,0.085)))
nmos_m36_w0_305_sm1_dm1_.add(gdstk.Reference(contact_9, (1.62,0.085)))
nmos_m36_w0_305_sm1_dm1_.add(gdstk.Reference(contact_9, (1.895,0.085)))
nmos_m36_w0_305_sm1_dm1_.add(gdstk.Reference(contact_9, (2.17,0.085)))
nmos_m36_w0_305_sm1_dm1_.add(gdstk.Reference(contact_9, (2.445,0.085)))
nmos_m36_w0_305_sm1_dm1_.add(gdstk.Reference(contact_9, (2.72,0.085)))
nmos_m36_w0_305_sm1_dm1_.add(gdstk.Reference(contact_9, (2.995,0.085)))
nmos_m36_w0_305_sm1_dm1_.add(gdstk.Reference(contact_9, (3.27,0.085)))
nmos_m36_w0_305_sm1_dm1_.add(gdstk.Reference(contact_9, (3.545,0.085)))
nmos_m36_w0_305_sm1_dm1_.add(gdstk.Reference(contact_9, (3.82,0.085)))
nmos_m36_w0_305_sm1_dm1_.add(gdstk.Reference(contact_9, (4.095,0.085)))
nmos_m36_w0_305_sm1_dm1_.add(gdstk.Reference(contact_9, (4.37,0.085)))
nmos_m36_w0_305_sm1_dm1_.add(gdstk.Reference(contact_9, (4.645,0.085)))
nmos_m36_w0_305_sm1_dm1_.add(gdstk.Reference(contact_9, (4.92,0.085)))
nmos_m36_w0_305_sm1_dm1_.add(gdstk.Reference(contact_9, (5.195,0.085)))
nmos_m36_w0_305_sm1_dm1_.add(gdstk.Reference(contact_9, (5.47,0.085)))
nmos_m36_w0_305_sm1_dm1_.add(gdstk.Reference(contact_9, (5.745,0.085)))
nmos_m36_w0_305_sm1_dm1_.add(gdstk.Reference(contact_9, (6.02,0.085)))
nmos_m36_w0_305_sm1_dm1_.add(gdstk.Reference(contact_9, (6.295,0.085)))
nmos_m36_w0_305_sm1_dm1_.add(gdstk.Reference(contact_9, (6.57,0.085)))
nmos_m36_w0_305_sm1_dm1_.add(gdstk.Reference(contact_9, (6.845,0.085)))
nmos_m36_w0_305_sm1_dm1_.add(gdstk.Reference(contact_9, (7.12,0.085)))
nmos_m36_w0_305_sm1_dm1_.add(gdstk.Reference(contact_9, (7.395,0.085)))
nmos_m36_w0_305_sm1_dm1_.add(gdstk.Reference(contact_9, (7.67,0.085)))
nmos_m36_w0_305_sm1_dm1_.add(gdstk.Reference(contact_9, (7.945,0.085)))
nmos_m36_w0_305_sm1_dm1_.add(gdstk.Reference(contact_9, (8.22,0.085)))
nmos_m36_w0_305_sm1_dm1_.add(gdstk.Reference(contact_9, (8.495,0.085)))
nmos_m36_w0_305_sm1_dm1_.add(gdstk.Reference(contact_9, (8.77,0.085)))
nmos_m36_w0_305_sm1_dm1_.add(gdstk.Reference(contact_9, (9.045,0.085)))
nmos_m36_w0_305_sm1_dm1_.add(gdstk.Reference(contact_9, (9.32,0.085)))
nmos_m36_w0_305_sm1_dm1_.add(gdstk.Reference(contact_9, (9.595,0.085)))
nmos_m36_w0_305_sm1_dm1_.add(gdstk.Reference(contact_9, (9.84,0.085)))
nmos_m36_w0_305_sm1_dm1_.add(gdstk.Label('G', (4.965,0.385), layer=9, texttype=0))
nmos_m36_w0_305_sm1_dm1_.add(gdstk.Label('S', (6.065,0.1525), layer=11, texttype=0))
nmos_m36_w0_305_sm1_dm1_.add(gdstk.Label('S', (8.265,0.1525), layer=11, texttype=0))
nmos_m36_w0_305_sm1_dm1_.add(gdstk.Label('S', (8.815,0.1525), layer=11, texttype=0))
nmos_m36_w0_305_sm1_dm1_.add(gdstk.Label('S', (2.765,0.1525), layer=11, texttype=0))
nmos_m36_w0_305_sm1_dm1_.add(gdstk.Label('S', (3.865,0.1525), layer=11, texttype=0))
nmos_m36_w0_305_sm1_dm1_.add(gdstk.Label('S', (1.115,0.1525), layer=11, texttype=0))
nmos_m36_w0_305_sm1_dm1_.add(gdstk.Label('S', (2.215,0.1525), layer=11, texttype=0))
nmos_m36_w0_305_sm1_dm1_.add(gdstk.Label('S', (7.165,0.1525), layer=11, texttype=0))
nmos_m36_w0_305_sm1_dm1_.add(gdstk.Label('S', (9.365,0.1525), layer=11, texttype=0))
nmos_m36_w0_305_sm1_dm1_.add(gdstk.Label('S', (1.665,0.1525), layer=11, texttype=0))
nmos_m36_w0_305_sm1_dm1_.add(gdstk.Label('S', (7.715,0.1525), layer=11, texttype=0))
nmos_m36_w0_305_sm1_dm1_.add(gdstk.Label('S', (6.615,0.1525), layer=11, texttype=0))
nmos_m36_w0_305_sm1_dm1_.add(gdstk.Label('S', (9.885,0.1525), layer=11, texttype=0))
nmos_m36_w0_305_sm1_dm1_.add(gdstk.Label('S', (3.315,0.1525), layer=11, texttype=0))
nmos_m36_w0_305_sm1_dm1_.add(gdstk.Label('S', (0.045,0.1525), layer=11, texttype=0))
nmos_m36_w0_305_sm1_dm1_.add(gdstk.Label('S', (4.965,0.1525), layer=11, texttype=0))
nmos_m36_w0_305_sm1_dm1_.add(gdstk.Label('S', (5.515,0.1525), layer=11, texttype=0))
nmos_m36_w0_305_sm1_dm1_.add(gdstk.Label('S', (4.415,0.1525), layer=11, texttype=0))
nmos_m36_w0_305_sm1_dm1_.add(gdstk.Label('S', (0.565,0.1525), layer=11, texttype=0))
nmos_m36_w0_305_sm1_dm1_.add(gdstk.Label('D', (4.965,0.3175), layer=11, texttype=0))

pinv_14 = lib.new_cell('pinv_14')
R(pinv_14, pwell, [(-0.055,-0.0325,10.145,1.1875)])
R(pinv_14, nwell, [(-0.055,1.1875,10.145,2.51)])
R(pinv_14, vtg, [(-0.055,-0.0325,10.145,1.1875), (-0.055,1.1875,10.145,2.51)])
R(pinv_14, poly, [(0.2075,0.535,0.2575,1.33), (0.14,1.0475,0.2075,1.1225)])
A(pinv_14, metal1, 0.6125, -0.0325, 0.065, 0.2425, 17, 1, 0.55, 0)
A(pinv_14, metal1, 0.6125, 1.825, 0.065, 0.6825, 17, 1, 0.55, 0)
R(pinv_14, metal1, [(0,-0.0325,10.09,0.0325), (0.0925,-0.0325,0.1575,0.21), (9.9325,-0.0325,9.9975,0.21), (5.0125,0.41,5.0775,1.76), (0.0725,1.0525,0.2075,1.1175), (5.045,1.0525,5.11,1.1175), (0.0925,1.825,0.1575,2.5075), (9.9325,1.825,9.9975,2.5075), (0,2.4425,10.09,2.5075)])
R(pinv_14, boundary2, [(0,0,10.09,2.475), (0,0,10.09,2.475)])
pinv_14.add(gdstk.Reference(pmos_m36_w0_915_sm1_dm1_, (0.08,1.435)))
pinv_14.add(gdstk.Reference(nmos_m36_w0_305_sm1_dm1_, (0.08,0.125)))
pinv_14.add(gdstk.Reference(contact_13, (0.0725,1.0475)))
pinv_14.add(gdstk.Label('A', (0.14,1.085), layer=11, texttype=0))
pinv_14.add(gdstk.Label('Z', (5.0775,1.085), layer=11, texttype=0))
pinv_14.add(gdstk.Label('gnd', (5.045,0), layer=11, texttype=0))
pinv_14.add(gdstk.Label('vdd', (5.045,2.475), layer=11, texttype=0))

pdriver_0 = lib.new_cell('pdriver_0')
R(pdriver_0, pwell, [(-0.055,-0.0325,18.0425,1.1875)])
R(pdriver_0, nwell, [(-0.055,1.1875,18.0425,2.51)])
R(pdriver_0, vtg, [(-0.055,-0.0325,18.0425,1.1875), (-0.055,1.1875,18.0425,2.51)])
R(pdriver_0, metal1, [(0,-0.0325,17.9875,0.0325), (3.7275,1.05,3.7925,1.115), (3.76,1.05,4.5475,1.115), (6.1525,1.0525,6.2175,1.1175), (6.185,1.0525,8.0375,1.1175), (12.9425,1.0525,13.0075,1.1175), (2.4525,1.08,2.5175,1.145), (2.485,1.08,2.9625,1.145), (3.7275,1.0825,3.7925,1.1125), (6.1525,1.0825,6.2175,1.085), (1.9575,1.0925,2.0225,1.1575), (1.99,1.0925,2.2225,1.1575), (2.4525,1.1125,2.5175,1.125), (1.4925,1.115,1.5575,1.18), (1.525,1.115,1.7575,1.18), (1.9575,1.125,2.0225,1.1475), (1.4925,1.1475,1.5575,1.1925), (0.0725,1.16,0.2075,1.225), (0.3725,1.16,0.8275,1.225), (1.06,1.16,1.2925,1.225), (0,2.4425,17.9875,2.5075)])
R(pdriver_0, boundary2, [(0,0,17.9875,2.475), (0,0,17.9875,2.475)])
pdriver_0.add(gdstk.Reference(pinv_8, (0,0)))
pdriver_0.add(gdstk.Reference(pinv_9, (0.6875,0)))
pdriver_0.add(gdstk.Reference(pinv_9, (1.1525,0)))
pdriver_0.add(gdstk.Reference(pinv_10, (1.6175,0)))
pdriver_0.add(gdstk.Reference(pinv_11, (2.0825,0)))
pdriver_0.add(gdstk.Reference(pinv_12, (2.8225,0)))
pdriver_0.add(gdstk.Reference(pinv_13, (4.4075,0)))
pdriver_0.add(gdstk.Reference(pinv_14, (7.8975,0)))
pdriver_0.add(gdstk.Label('Z', (12.975,1.085), layer=11, texttype=0))
pdriver_0.add(gdstk.Label('A', (0.14,1.1925), layer=11, texttype=0))
pdriver_0.add(gdstk.Label('gnd', (8.994,0), layer=11, texttype=0))
pdriver_0.add(gdstk.Label('vdd', (8.994,2.475), layer=11, texttype=0))

lib.write_gds('pdriver_0.gds')
